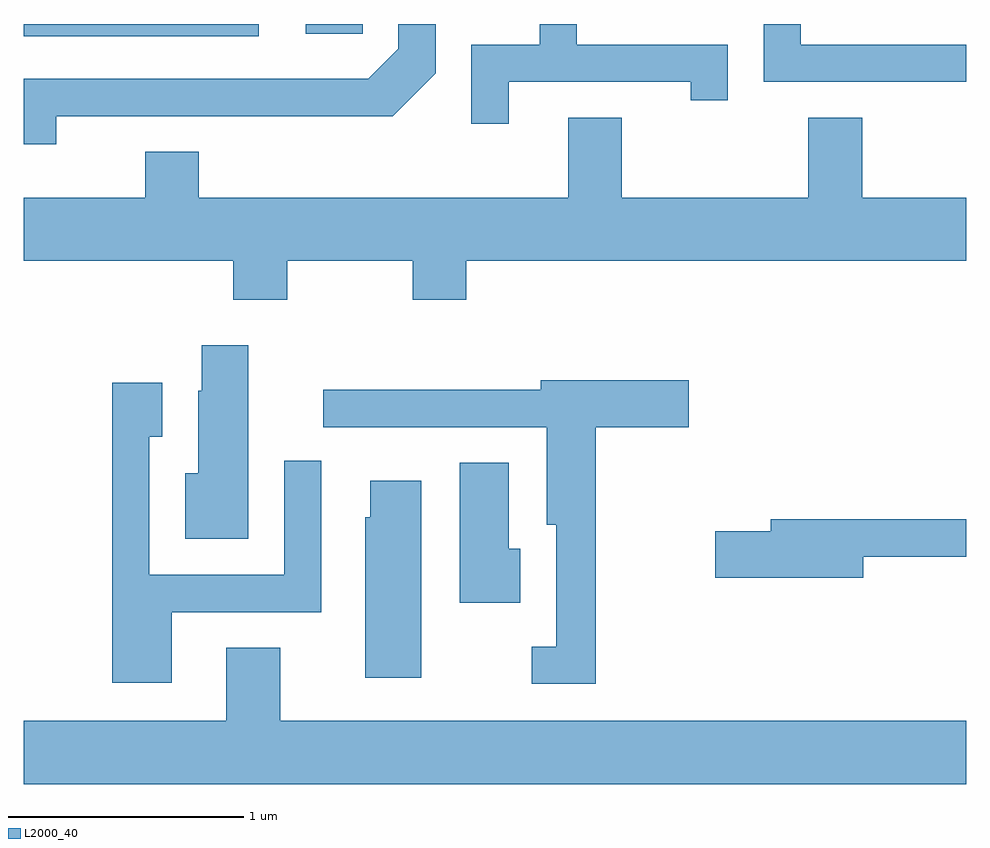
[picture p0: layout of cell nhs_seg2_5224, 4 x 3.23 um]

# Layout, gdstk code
import gdstk
lib = gdstk.Library(unit=1e-6, precision=1e-09)
def R(c, l, rs):  # rectangles x0, y0, x1, y1
    for r in rs: c.add(gdstk.rectangle(r[:2], r[2:], *l))
def P(c, l, *ps):  # polygons
    for p in ps: c.add(gdstk.Polygon(p, *l))
L2000_40 = (2000, 40)

nhs_seg2_5224 = lib.new_cell('nhs_seg2_5224')
R(nhs_seg2_5224, L2000_40, [(339.611,1013.751,340.608,1013.802), (340.808,1013.761,341.049,1013.802)])
P(nhs_seg2_5224, L2000_40, [(341.669,1013.556),(342.441,1013.556),(342.441,1013.478),(342.599,1013.478),(342.599,1013.714),(341.959,1013.714),(341.959,1013.802),(341.801,1013.802),(341.801,1013.714),(341.511,1013.714),(341.511,1013.378),(341.669,1013.378)],
  [(343.611,1013.714),(342.909,1013.714),(342.909,1013.802),(342.751,1013.802),(342.751,1013.556),(343.611,1013.556)],
  [(339.749,1013.411),(341.177,1013.411),(341.359,1013.594),(341.359,1013.802),(341.201,1013.802),(341.201,1013.697),(341.074,1013.569),(339.611,1013.569),(339.611,1013.291),(339.749,1013.291)],
  [(340.729,1012.796),(341.261,1012.796),(341.261,1012.631),(341.489,1012.631),(341.489,1012.796),(343.611,1012.796),(343.611,1013.064),(343.169,1013.064),(343.169,1013.404),(342.941,1013.404),(342.941,1013.064),(342.149,1013.064),(342.149,1013.404),(341.921,1013.404),(341.921,1013.064),(340.354,1013.064),(340.354,1013.259),(340.126,1013.259),(340.126,1013.064),(339.611,1013.064),(339.611,1012.796),(340.501,1012.796),(340.501,1012.631),(340.729,1012.631)],
  [(340.564,1012.439),(340.366,1012.439),(340.366,1012.245),(340.351,1012.245),(340.351,1011.894),(340.296,1011.894),(340.296,1011.616),(340.564,1011.616)],
  [(342.039,1012.091),(342.434,1012.091),(342.434,1012.289),(341.806,1012.289),(341.806,1012.249),(340.883,1012.249),(340.883,1012.091),(341.831,1012.091),(341.831,1011.676),(341.871,1011.676),(341.871,1011.159),(341.768,1011.159),(341.768,1011.001),(342.039,1011.001)],
  [(340.239,1011.306),(340.874,1011.306),(340.874,1011.948),(340.716,1011.948),(340.716,1011.464),(340.144,1011.464),(340.144,1012.051),(340.199,1012.051),(340.199,1012.279),(339.986,1012.279),(339.986,1011.006),(340.239,1011.006)],
  [(341.719,1011.574),(341.669,1011.574),(341.669,1011.939),(341.461,1011.939),(341.461,1011.346),(341.719,1011.346)],
  [(341.299,1011.864),(341.081,1011.864),(341.081,1011.709),(341.061,1011.709),(341.061,1011.026),(341.299,1011.026)],
  [(343.174,1011.541),(343.611,1011.541),(343.611,1011.699),(342.781,1011.699),(342.781,1011.649),(342.546,1011.649),(342.546,1011.451),(343.174,1011.451)],
  [(343.611,1010.844),(340.699,1010.844),(340.699,1011.154),(340.471,1011.154),(340.471,1010.844),(339.611,1010.844),(339.611,1010.576),(343.611,1010.576)])

lib.write_gds('nhs_seg2_5224.gds')
